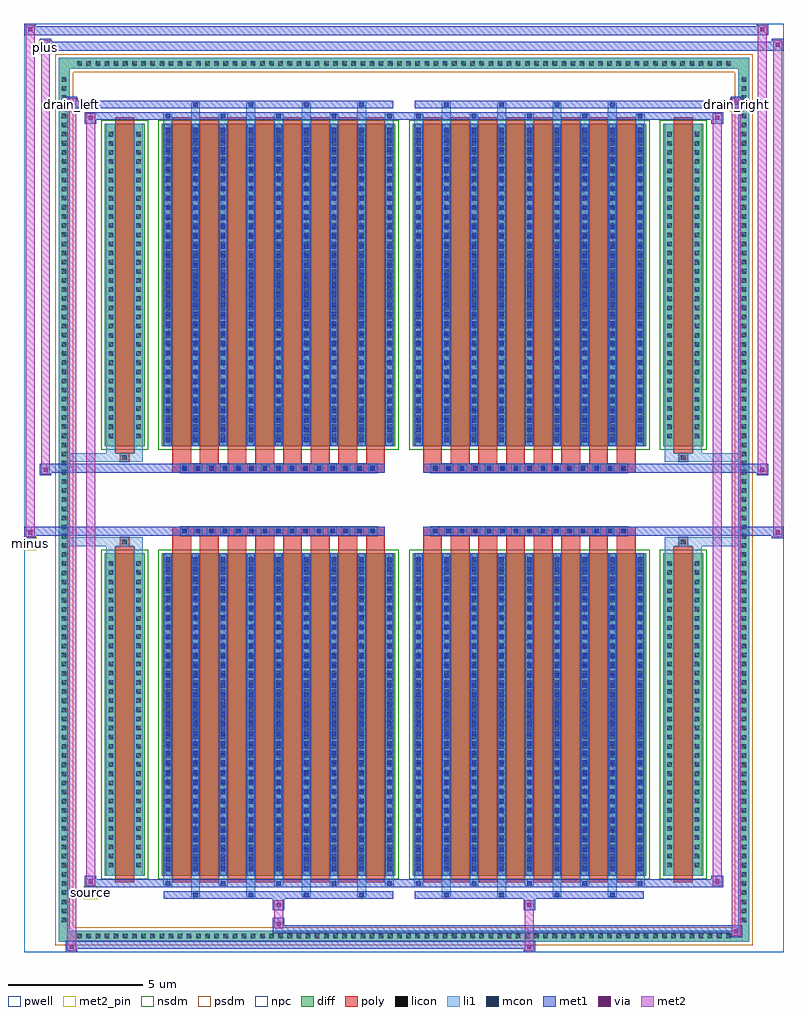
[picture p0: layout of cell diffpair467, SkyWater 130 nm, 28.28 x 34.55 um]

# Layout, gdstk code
import gdstk
lib = gdstk.Library(unit=1e-6, precision=5e-09)
def R(c, l, rs):  # rectangles x0, y0, x1, y1
    for r in rs: c.add(gdstk.rectangle(r[:2], r[2:], *l))
def A(c, l, x, y, w, h, nx, ny, dx, dy):  # array of equal rectangles
    R(c, l, [(x+i*dx, y+j*dy, x+i*dx+w, y+j*dy+h) for i in range(nx) for j in range(ny)])
def P(c, l, *ps):  # polygons
    for p in ps: c.add(gdstk.Polygon(p, *l))
pwell = (64, 44)
diff = (65, 20)
poly = (66, 20)
licon = (66, 44)
li1 = (67, 20)
mcon = (67, 44)
met1 = (68, 20)
via = (68, 44)
met2_pin = (69, 16)
met2 = (69, 20)
nsdm = (93, 44)
psdm = (94, 20)
npc = (95, 20)

diffpair467 = lib.new_cell('diffpair467')
R(diffpair467, pwell, [(-14.12,-16.84,14.12,17.71), (-11.44,-15.03,-0.01,-0.805), (0.01,-15.03,11.44,-0.805), (-11.44,0.805,-0.01,15.03), (0.01,0.805,11.44,15.03)])
A(diffpair467, diff, -12.275, -16.44, 0.41, 0.41, 72, 2, 0.34, 32.47)
A(diffpair467, diff, -12.85, -15.845, 0.41, 0.41, 1, 93, 0, 0.34)
A(diffpair467, diff, 12.44, -15.845, 0.41, 0.41, 1, 93, 0, 0.34)
R(diffpair467, diff, [(-12.275,-16.44,12.275,-16.03), (-12.85,-15.845,-12.44,15.845), (12.44,-15.845,12.85,15.845), (-11.13,-13.985,-9.65,-1.985), (-9.01,-13.985,-0.32,-1.985), (0.32,-13.985,9.01,-1.985), (9.65,-13.985,11.13,-1.985), (-11.13,1.985,-9.65,13.985), (-9.01,1.985,-0.32,13.985), (0.32,1.985,9.01,13.985), (9.65,1.985,11.13,13.985), (-12.275,16.03,12.275,16.44)])
P(diffpair467, diff, [(12.85,16.44),(-12.85,16.44),(-12.85,-16.03),(-12.44,-16.03),(-12.44,16.03),(12.44,16.03),(12.44,-16.03),(-12.44,-16.03),(-12.85,-16.03),(-12.85,-16.44),(12.85,-16.44)])
A(diffpair467, poly, -8.62, -14.235, 0.7, 12.5, 8, 2, 1.03, 15.97)
A(diffpair467, poly, 0.71, -14.235, 0.7, 12.5, 8, 2, 1.03, 15.97)
A(diffpair467, poly, -8.62, -1.735, 0.7, 0.4, 8, 2, 1.03, 3.07)
A(diffpair467, poly, 0.71, -1.735, 0.7, 0.4, 8, 2, 1.03, 3.07)
A(diffpair467, poly, -8.33, -1.335, 0.33, 0.33, 15, 2, 0.5, 2.34)
A(diffpair467, poly, 1, -1.335, 0.33, 0.33, 15, 2, 0.5, 2.34)
R(diffpair467, poly, [(-10.74,-14.235,-10.04,-1.735), (10.04,-14.235,10.74,-1.735), (-10.555,-1.735,-10.225,-1.405), (-10.555,-1.735,-10.225,-1.405), (10.225,-1.735,10.555,-1.405), (10.225,-1.735,10.555,-1.405), (-8.62,-1.335,-0.71,-1.005), (0.71,-1.335,8.62,-1.005), (-8.62,1.005,-0.71,1.335), (0.71,1.005,8.62,1.335), (-10.555,1.405,-10.225,1.735), (-10.555,1.405,-10.225,1.735), (10.225,1.405,10.555,1.735), (10.225,1.405,10.555,1.735), (-10.74,1.735,-10.04,14.235), (10.04,1.735,10.74,14.235)])
A(diffpair467, licon, -12.155, -16.32, 0.17, 0.17, 72, 2, 0.34, 32.47)
A(diffpair467, licon, -12.73, -15.725, 0.17, 0.17, 1, 93, 0, 0.34)
A(diffpair467, licon, 12.56, -15.725, 0.17, 0.17, 1, 93, 0, 0.34)
A(diffpair467, licon, -10.99, -13.68, 0.17, 0.17, 1, 34, 0, 0.34)
A(diffpair467, licon, -9.96, -13.68, 0.17, 0.17, 1, 34, 0, 0.34)
A(diffpair467, licon, -8.87, -13.68, 0.17, 0.17, 9, 34, 1.03, 0.34)
A(diffpair467, licon, 0.46, -13.68, 0.17, 0.17, 9, 34, 1.03, 0.34)
A(diffpair467, licon, 9.79, -13.68, 0.17, 0.17, 1, 34, 0, 0.34)
A(diffpair467, licon, 10.82, -13.68, 0.17, 0.17, 1, 34, 0, 0.34)
A(diffpair467, licon, -8.25, -1.255, 0.17, 0.17, 15, 2, 0.5, 2.34)
A(diffpair467, licon, 1.08, -1.255, 0.17, 0.17, 15, 2, 0.5, 2.34)
A(diffpair467, licon, -10.99, 2.29, 0.17, 0.17, 1, 34, 0, 0.34)
A(diffpair467, licon, -9.96, 2.29, 0.17, 0.17, 1, 34, 0, 0.34)
A(diffpair467, licon, -8.87, 2.29, 0.17, 0.17, 9, 34, 1.03, 0.34)
A(diffpair467, licon, 0.46, 2.29, 0.17, 0.17, 9, 34, 1.03, 0.34)
A(diffpair467, licon, 9.79, 2.29, 0.17, 0.17, 1, 34, 0, 0.34)
A(diffpair467, licon, 10.82, 2.29, 0.17, 0.17, 1, 34, 0, 0.34)
R(diffpair467, licon, [(-10.475,-1.655,-10.305,-1.485), (10.305,-1.655,10.475,-1.485), (-10.475,1.485,-10.305,1.655), (10.305,1.485,10.475,1.655)])
A(diffpair467, li1, -12.235, -16.4, 0.33, 0.33, 72, 2, 0.34, 32.47)
A(diffpair467, li1, -12.81, -15.805, 0.33, 0.33, 1, 93, 0, 0.34)
A(diffpair467, li1, 12.48, -15.805, 0.33, 0.33, 1, 93, 0, 0.34)
A(diffpair467, li1, -7.92, -14.79, 0.33, 0.805, 4, 2, 2.06, 28.775)
A(diffpair467, li1, -7.84, -14.79, 0.17, 0.17, 4, 2, 2.06, 29.41)
A(diffpair467, li1, 1.41, -14.79, 0.33, 0.805, 4, 2, 2.06, 28.775)
A(diffpair467, li1, 1.49, -14.79, 0.17, 0.17, 4, 2, 2.06, 29.41)
A(diffpair467, li1, -8.95, -14.36, 0.33, 0.375, 5, 2, 2.06, 28.345)
A(diffpair467, li1, -8.87, -14.36, 0.17, 0.17, 5, 2, 2.06, 28.55)
A(diffpair467, li1, 0.38, -14.36, 0.33, 0.375, 5, 2, 2.06, 28.345)
A(diffpair467, li1, 0.46, -14.36, 0.17, 0.17, 5, 2, 2.06, 28.55)
A(diffpair467, li1, -8.95, -13.985, 0.33, 12, 9, 2, 1.03, 15.97)
A(diffpair467, li1, 0.38, -13.985, 0.33, 12, 9, 2, 1.03, 15.97)
A(diffpair467, li1, -8.87, -13.83, 0.17, 0.17, 9, 33, 1.03, 0.36)
A(diffpair467, li1, -8.87, -13.83, 0.17, 11.69, 9, 2, 1.03, 15.97)
A(diffpair467, li1, 0.46, -13.83, 0.17, 0.17, 9, 33, 1.03, 0.36)
A(diffpair467, li1, 0.46, -13.83, 0.17, 11.69, 9, 2, 1.03, 15.97)
A(diffpair467, li1, -11.07, -13.76, 0.33, 0.33, 1, 34, 0, 0.34)
A(diffpair467, li1, -10.04, -13.76, 0.33, 0.33, 1, 34, 0, 0.34)
A(diffpair467, li1, -8.95, -13.76, 0.33, 0.33, 9, 34, 1.03, 0.34)
A(diffpair467, li1, 0.38, -13.76, 0.33, 0.33, 9, 34, 1.03, 0.34)
A(diffpair467, li1, 9.71, -13.76, 0.33, 0.33, 1, 34, 0, 0.34)
A(diffpair467, li1, 10.74, -13.76, 0.33, 0.33, 1, 34, 0, 0.34)
A(diffpair467, li1, -8.33, -1.335, 0.33, 0.33, 15, 2, 0.5, 2.34)
A(diffpair467, li1, 1, -1.335, 0.33, 0.33, 15, 2, 0.5, 2.34)
A(diffpair467, li1, -8.87, 2.14, 0.17, 0.17, 9, 33, 1.03, 0.36)
A(diffpair467, li1, 0.46, 2.14, 0.17, 0.17, 9, 33, 1.03, 0.36)
A(diffpair467, li1, -11.07, 2.21, 0.33, 0.33, 1, 34, 0, 0.34)
A(diffpair467, li1, -10.04, 2.21, 0.33, 0.33, 1, 34, 0, 0.34)
A(diffpair467, li1, -8.95, 2.21, 0.33, 0.33, 9, 34, 1.03, 0.34)
A(diffpair467, li1, 0.38, 2.21, 0.33, 0.33, 9, 34, 1.03, 0.34)
A(diffpair467, li1, 9.71, 2.21, 0.33, 0.33, 1, 34, 0, 0.34)
A(diffpair467, li1, 10.74, 2.21, 0.33, 0.33, 1, 34, 0, 0.34)
R(diffpair467, li1, [(-12.85,-16.44,-12.44,-16.03), (-12.85,-16.44,-12.44,-16.03), (-12.44,-16.44,12.44,-16.03), (12.44,-16.44,12.85,-16.03), (12.44,-16.44,12.85,-16.03), (-12.85,-16.03,-12.44,16.03), (12.44,-16.03,12.85,16.03), (-11.07,-13.985,-10.74,-1.985), (-10.04,-13.985,-9.71,-1.985), (9.71,-13.985,10.04,-1.985), (10.74,-13.985,11.07,-1.985), (-11.07,-1.985,-10.74,-1.405), (-10.04,-1.985,-9.71,-1.405), (9.71,-1.985,10.04,-1.405), (10.74,-1.985,11.07,-1.405), (-12.85,-1.735,-10.555,-1.405), (-11.07,-1.735,-10.555,-1.405), (-10.555,-1.735,-10.225,-1.405), (-10.225,-1.735,-9.71,-1.405), (9.71,-1.735,10.225,-1.405), (10.225,-1.735,10.555,-1.405), (10.225,-1.735,12.85,-1.405), (10.555,-1.735,11.07,-1.405), (-12.85,1.405,-10.555,1.735), (-11.07,1.405,-10.555,1.735), (-11.07,1.405,-10.74,1.985), (-10.555,1.405,-10.225,1.735), (-10.225,1.405,-9.71,1.735), (-10.04,1.405,-9.71,1.985), (9.71,1.405,10.225,1.735), (9.71,1.405,10.04,1.985), (10.225,1.405,10.555,1.735), (10.225,1.405,12.85,1.735), (10.555,1.405,11.07,1.735), (10.74,1.405,11.07,1.985), (-11.07,1.985,-10.74,13.985), (-10.04,1.985,-9.71,13.985), (9.71,1.985,10.04,13.985), (10.74,1.985,11.07,13.985), (-12.85,16.03,-12.44,16.44), (-12.85,16.03,-12.44,16.44), (-12.44,16.03,12.44,16.44), (12.44,16.03,12.85,16.44), (12.44,16.03,12.85,16.44)])
A(diffpair467, mcon, -7.84, -14.79, 0.17, 0.17, 4, 2, 2.06, 29.41)
A(diffpair467, mcon, 1.49, -14.79, 0.17, 0.17, 4, 2, 2.06, 29.41)
A(diffpair467, mcon, -8.87, -14.36, 0.17, 0.17, 5, 2, 2.06, 28.55)
A(diffpair467, mcon, 0.46, -14.36, 0.17, 0.17, 5, 2, 2.06, 28.55)
A(diffpair467, mcon, -8.87, -13.83, 0.17, 0.17, 9, 33, 1.03, 0.36)
A(diffpair467, mcon, 0.46, -13.83, 0.17, 0.17, 9, 33, 1.03, 0.36)
A(diffpair467, mcon, -8.25, -1.255, 0.17, 0.17, 15, 2, 0.5, 2.34)
A(diffpair467, mcon, 1.08, -1.255, 0.17, 0.17, 15, 2, 0.5, 2.34)
A(diffpair467, mcon, -8.87, 2.14, 0.17, 0.17, 9, 33, 1.03, 0.36)
A(diffpair467, mcon, 0.46, 2.14, 0.17, 0.17, 9, 33, 1.03, 0.36)
A(diffpair467, met1, -7.9, -14.85, 0.29, 0.29, 4, 2, 2.06, 29.41)
A(diffpair467, met1, 1.43, -14.85, 0.29, 0.29, 4, 2, 2.06, 29.41)
A(diffpair467, met1, -8.93, -14.42, 0.29, 0.29, 5, 2, 2.06, 28.55)
A(diffpair467, met1, 0.4, -14.42, 0.29, 0.29, 5, 2, 2.06, 28.55)
A(diffpair467, met1, -8.93, -13.985, 0.29, 12, 9, 2, 1.03, 15.97)
A(diffpair467, met1, 0.4, -13.985, 0.29, 12, 9, 2, 1.03, 15.97)
A(diffpair467, met1, -8.93, -13.89, 0.29, 0.29, 9, 33, 1.03, 0.36)
A(diffpair467, met1, 0.4, -13.89, 0.29, 0.29, 9, 33, 1.03, 0.36)
A(diffpair467, met1, -8.31, -1.315, 0.29, 0.29, 15, 2, 0.5, 2.34)
A(diffpair467, met1, 1.02, -1.315, 0.29, 0.29, 15, 2, 0.5, 2.34)
A(diffpair467, met1, -8.93, 2.08, 0.29, 0.29, 9, 33, 1.03, 0.36)
A(diffpair467, met1, 0.4, 2.08, 0.29, 0.29, 9, 33, 1.03, 0.36)
R(diffpair467, met1, [(-12.58,-16.84,-12.15,-16.41), (4.45,-16.84,4.88,-16.41), (-12.58,-16.7,4.88,-16.41), (12.15,-16.27,12.58,-15.84), (-4.88,-16.13,12.58,-15.84), (-4.88,-15.99,-4.45,-15.56), (-4.88,-15.28,-4.45,-14.85), (4.45,-15.28,4.88,-14.85), (-8.93,-14.85,-0.4,-14.56), (0.4,-14.85,8.93,-14.56), (-11.87,-14.42,-11.44,-13.99), (-11.87,-14.42,-8.93,-14.13), (-8.93,-14.42,-0.4,-14.13), (-0.4,-14.42,0.4,-14.13), (0.4,-14.42,8.93,-14.13), (8.93,-14.42,11.87,-14.13), (11.44,-14.42,11.87,-13.99), (-14.12,-1.435,-13.69,-1.005), (13.69,-1.435,14.12,-1.005), (-14.12,-1.335,-0.71,-1.005), (-8.62,-1.335,-0.71,-1.005), (0.71,-1.335,8.62,-1.005), (0.71,-1.335,14.12,-1.005), (-13.55,0.905,-13.12,1.335), (13.12,0.905,13.55,1.335), (-13.55,1.005,-8.62,1.335), (-8.62,1.005,-0.71,1.335), (0.71,1.005,8.62,1.335), (8.62,1.005,13.55,1.335), (-11.87,13.99,-11.44,14.42), (11.44,13.99,11.87,14.42), (-11.87,14.13,-8.93,14.42), (-8.93,14.13,-0.4,14.42), (-0.4,14.13,0.4,14.42), (0.4,14.13,8.93,14.42), (8.93,14.13,11.87,14.42), (-12.58,14.56,-12.15,14.99), (-12.58,14.56,-8.93,14.85), (-8.93,14.56,-0.4,14.85), (0.4,14.56,8.93,14.85), (8.93,14.56,12.58,14.85), (12.15,14.56,12.58,14.99), (-13.55,16.71,-13.12,17.14), (-13.55,16.71,-11.44,17.04), (-11.44,16.71,11.44,17.04), (11.44,16.71,14.12,17.04), (13.69,16.71,14.12,17.14), (-14.12,17.28,-13.69,17.71), (-14.12,17.28,-11.44,17.61), (-11.44,17.28,11.44,17.61), (11.44,17.28,13.55,17.61), (13.12,17.28,13.55,17.71)])
R(diffpair467, via, [(-12.44,-16.7,-12.29,-16.55), (4.59,-16.7,4.74,-16.55), (12.29,-16.13,12.44,-15.98), (-4.74,-15.85,-4.59,-15.7), (-4.74,-15.14,-4.59,-14.99), (4.59,-15.14,4.74,-14.99), (-11.73,-14.28,-11.58,-14.13), (11.58,-14.28,11.73,-14.13), (-13.98,-1.295,-13.83,-1.145), (13.83,-1.295,13.98,-1.145), (-13.41,1.045,-13.26,1.195), (13.26,1.045,13.41,1.195), (-11.73,14.13,-11.58,14.28), (11.58,14.13,11.73,14.28), (-12.44,14.7,-12.29,14.85), (12.29,14.7,12.44,14.85), (-13.41,16.85,-13.26,17), (13.83,16.85,13.98,17), (-13.98,17.42,-13.83,17.57), (13.26,17.42,13.41,17.57)])
R(diffpair467, met2_pin, [(-11.905,-14.87,-11.405,-14.37), (-14.155,-1.885,-13.655,-1.385), (-12.615,14.44,-12.115,14.94), (12.115,14.44,12.615,14.94), (-13.585,16.59,-13.085,17.09)])
R(diffpair467, met2, [(-12.53,-16.79,-12.2,-16.46), (-12.53,-16.79,-12.2,14.94), (4.5,-16.79,4.83,-16.46), (4.5,-16.46,4.83,-15.23), (12.2,-16.22,12.53,-15.89), (12.2,-16.22,12.53,14.94), (-4.83,-15.94,-4.5,-15.61), (-4.83,-15.61,-4.5,-15.23), (-4.83,-15.23,-4.5,-14.9), (4.5,-15.23,4.83,-14.9), (-11.82,-14.37,-11.49,-14.04), (-11.82,-14.37,-11.49,14.37), (11.49,-14.37,11.82,-14.04), (11.49,-14.37,11.82,14.37), (-14.07,-1.385,-13.74,-1.055), (-14.07,-1.385,-13.74,17.66), (13.74,-1.385,14.07,-1.055), (13.74,-1.385,14.07,17.09), (-13.5,0.955,-13.17,1.285), (-13.5,0.955,-13.17,17.09), (13.17,0.955,13.5,1.285), (13.17,0.955,13.5,17.66), (-11.82,14.04,-11.49,14.37), (11.49,14.04,11.82,14.37), (-12.53,14.61,-12.2,14.94), (12.2,14.61,12.53,14.94), (-13.5,16.76,-13.17,17.09), (13.74,16.76,14.07,17.09), (-14.07,17.33,-13.74,17.66), (13.17,17.33,13.5,17.66)])
P(diffpair467, met2, [(14.07,-1.385),(14.07,-1.385),(14.07,-1.055),(14.07,-1.055)],
  [(14.07,16.76),(14.07,16.76),(14.07,17.09),(14.07,17.09)],
  [(-13.74,-1.385),(-13.74,-1.385),(-13.74,-1.055),(-13.74,-1.055)],
  [(-13.74,17.33),(-13.74,17.33),(-13.74,17.66),(-13.74,17.66)],
  [(13.5,0.955),(13.5,0.955),(13.5,1.285),(13.5,1.285)],
  [(13.5,17.33),(13.5,17.33),(13.5,17.66),(13.5,17.66)],
  [(-13.17,0.955),(-13.17,0.955),(-13.17,1.285),(-13.17,1.285)],
  [(-13.17,16.76),(-13.17,16.76),(-13.17,17.09),(-13.17,17.09)],
  [(-12.2,-16.79),(-12.2,-16.79),(-12.2,-16.46),(-12.2,-16.46)],
  [(-12.2,14.61),(-12.2,14.61),(-12.2,14.94),(-12.2,14.94)],
  [(12.53,-16.22),(12.53,-16.22),(12.53,-15.89),(12.53,-15.89)],
  [(12.53,14.61),(12.53,14.61),(12.53,14.94),(12.53,14.94)],
  [(-11.49,-14.37),(-11.49,-14.37),(-11.49,-14.04),(-11.49,-14.04)],
  [(-11.49,14.04),(-11.49,14.04),(-11.49,14.37),(-11.49,14.37)],
  [(11.82,-14.37),(11.82,-14.37),(11.82,-14.04),(11.82,-14.04)],
  [(11.82,14.04),(11.82,14.04),(11.82,14.37),(11.82,14.37)])
R(diffpair467, nsdm, [(-11.26,-14.115,-9.52,-1.855), (-9.14,-14.115,-0.19,-1.855), (0.19,-14.115,9.14,-1.855), (9.52,-14.115,11.26,-1.855), (-11.26,1.855,-9.52,14.115), (-9.14,1.855,-0.19,14.115), (0.19,1.855,9.14,14.115), (9.52,1.855,11.26,14.115)])
P(diffpair467, psdm, [(12.98,16.57),(-12.98,16.57),(-12.98,-15.9),(-12.31,-15.9),(-12.31,15.9),(12.31,15.9),(12.31,-15.9),(-12.31,-15.9),(-12.98,-15.9),(-12.98,-16.57),(12.98,-16.57)])
A(diffpair467, npc, -8.35, -1.355, 0.37, 0.37, 15, 2, 0.5, 2.34)
A(diffpair467, npc, 0.98, -1.355, 0.37, 0.37, 15, 2, 0.5, 2.34)
R(diffpair467, npc, [(-10.575,-1.755,-10.205,-1.385), (10.205,-1.755,10.575,-1.385), (-8.35,-1.355,-7.48,-0.985), (-8.35,-1.355,-7.48,-0.985), (-7.85,-1.355,-6.98,-0.985), (-7.85,-1.355,-6.98,-0.985), (-7.35,-1.355,-6.48,-0.985), (-7.35,-1.355,-6.48,-0.985), (-6.85,-1.355,-5.98,-0.985), (-6.85,-1.355,-5.98,-0.985), (-6.35,-1.355,-5.48,-0.985), (-6.35,-1.355,-5.48,-0.985), (-5.85,-1.355,-4.98,-0.985), (-5.85,-1.355,-4.98,-0.985), (-5.35,-1.355,-4.48,-0.985), (-5.35,-1.355,-4.48,-0.985), (-4.85,-1.355,-3.98,-0.985), (-4.85,-1.355,-3.98,-0.985), (-4.35,-1.355,-3.48,-0.985), (-4.35,-1.355,-3.48,-0.985), (-3.85,-1.355,-2.98,-0.985), (-3.85,-1.355,-2.98,-0.985), (-3.35,-1.355,-2.48,-0.985), (-3.35,-1.355,-2.48,-0.985), (-2.85,-1.355,-1.98,-0.985), (-2.85,-1.355,-1.98,-0.985), (-2.35,-1.355,-1.48,-0.985), (-2.35,-1.355,-1.48,-0.985), (-1.85,-1.355,-0.98,-0.985), (-1.85,-1.355,-0.98,-0.985), (0.98,-1.355,1.85,-0.985), (0.98,-1.355,1.85,-0.985), (1.48,-1.355,2.35,-0.985), (1.48,-1.355,2.35,-0.985), (1.98,-1.355,2.85,-0.985), (1.98,-1.355,2.85,-0.985), (2.48,-1.355,3.35,-0.985), (2.48,-1.355,3.35,-0.985), (2.98,-1.355,3.85,-0.985), (2.98,-1.355,3.85,-0.985), (3.48,-1.355,4.35,-0.985), (3.48,-1.355,4.35,-0.985), (3.98,-1.355,4.85,-0.985), (3.98,-1.355,4.85,-0.985), (4.48,-1.355,5.35,-0.985), (4.48,-1.355,5.35,-0.985), (4.98,-1.355,5.85,-0.985), (4.98,-1.355,5.85,-0.985), (5.48,-1.355,6.35,-0.985), (5.48,-1.355,6.35,-0.985), (5.98,-1.355,6.85,-0.985), (5.98,-1.355,6.85,-0.985), (6.48,-1.355,7.35,-0.985), (6.48,-1.355,7.35,-0.985), (6.98,-1.355,7.85,-0.985), (6.98,-1.355,7.85,-0.985), (7.48,-1.355,8.35,-0.985), (7.48,-1.355,8.35,-0.985), (-8.35,0.985,-7.48,1.355), (-8.35,0.985,-7.48,1.355), (-7.85,0.985,-6.98,1.355), (-7.85,0.985,-6.98,1.355), (-7.35,0.985,-6.48,1.355), (-7.35,0.985,-6.48,1.355), (-6.85,0.985,-5.98,1.355), (-6.85,0.985,-5.98,1.355), (-6.35,0.985,-5.48,1.355), (-6.35,0.985,-5.48,1.355), (-5.85,0.985,-4.98,1.355), (-5.85,0.985,-4.98,1.355), (-5.35,0.985,-4.48,1.355), (-5.35,0.985,-4.48,1.355), (-4.85,0.985,-3.98,1.355), (-4.85,0.985,-3.98,1.355), (-4.35,0.985,-3.48,1.355), (-4.35,0.985,-3.48,1.355), (-3.85,0.985,-2.98,1.355), (-3.85,0.985,-2.98,1.355), (-3.35,0.985,-2.48,1.355), (-3.35,0.985,-2.48,1.355), (-2.85,0.985,-1.98,1.355), (-2.85,0.985,-1.98,1.355), (-2.35,0.985,-1.48,1.355), (-2.35,0.985,-1.48,1.355), (-1.85,0.985,-0.98,1.355), (-1.85,0.985,-0.98,1.355), (0.98,0.985,1.85,1.355), (0.98,0.985,1.85,1.355), (1.48,0.985,2.35,1.355), (1.48,0.985,2.35,1.355), (1.98,0.985,2.85,1.355), (1.98,0.985,2.85,1.355), (2.48,0.985,3.35,1.355), (2.48,0.985,3.35,1.355), (2.98,0.985,3.85,1.355), (2.98,0.985,3.85,1.355), (3.48,0.985,4.35,1.355), (3.48,0.985,4.35,1.355), (3.98,0.985,4.85,1.355), (3.98,0.985,4.85,1.355), (4.48,0.985,5.35,1.355), (4.48,0.985,5.35,1.355), (4.98,0.985,5.85,1.355), (4.98,0.985,5.85,1.355), (5.48,0.985,6.35,1.355), (5.48,0.985,6.35,1.355), (5.98,0.985,6.85,1.355), (5.98,0.985,6.85,1.355), (6.48,0.985,7.35,1.355), (6.48,0.985,7.35,1.355), (6.98,0.985,7.85,1.355), (6.98,0.985,7.85,1.355), (7.48,0.985,8.35,1.355), (7.48,0.985,8.35,1.355), (-10.575,1.385,-10.205,1.755), (10.205,1.385,10.575,1.755)])
diffpair467.add(gdstk.Label('minus', (-13.905,-1.635), layer=69, texttype=5))
diffpair467.add(gdstk.Label('drain_right', (12.365,14.69), layer=69, texttype=5))
diffpair467.add(gdstk.Label('drain_left', (-12.365,14.69), layer=69, texttype=5))
diffpair467.add(gdstk.Label('source', (-11.655,-14.62), layer=69, texttype=5))
diffpair467.add(gdstk.Label('plus', (-13.335,16.84), layer=69, texttype=5))

lib.write_gds('diffpair467.gds')
